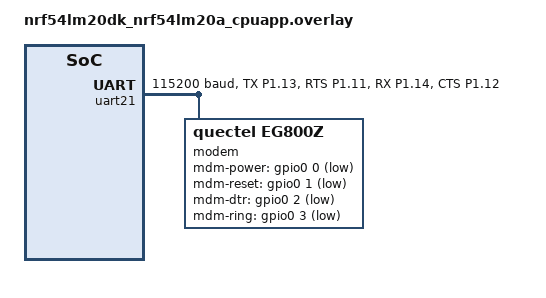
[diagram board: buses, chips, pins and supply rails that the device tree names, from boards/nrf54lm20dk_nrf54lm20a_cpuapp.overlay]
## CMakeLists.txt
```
# SPDX-License-Identifier: Apache-2.0
#
#   west twister -T firefly-app/tests/eg800z_power -p <board> \
#       --device-testing --device-serial /dev/ttyACM0 --tag hardware
#
cmake_minimum_required(VERSION 3.20.0)
find_package(Zephyr REQUIRED HINTS $ENV{ZEPHYR_BASE})
project(firefly_eg800z_power_tests LANGUAGES C CXX)

set(FIREFLY_ROOT ${CMAKE_CURRENT_LIST_DIR}/../..)

add_subdirectory(${FIREFLY_ROOT}/code/helpers helpers_build)
add_subdirectory(${FIREFLY_ROOT}/code/service service_build)

target_sources(app PRIVATE
    src/test_eg800z_power.cpp
    ${FIREFLY_ROOT}/code/event_bus.c
)

target_link_libraries(app PRIVATE firefly_service)
```

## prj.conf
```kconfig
# SPDX-License-Identifier: Apache-2.0
#
# Settings common to the scenario in testcase.yaml.
CONFIG_ZTEST=y

CONFIG_ZBUS=y
CONFIG_ZBUS_CHANNEL_NAME=y
CONFIG_ZBUS_MSG_SUBSCRIBER=y
CONFIG_ZBUS_MSG_SUBSCRIBER_NET_BUF_POOL_SIZE=32

# Lets the test read srvModemTest_eg800z_modem_is_powered() (see
# srvModemTest_eg800z.h) to assert "not powered" without any real UART/AT
# traffic. Does not install a fake port - the scenario exercises the real
# hardware port.
CONFIG_FIREFLY_TEST_HOOKS=y

CONFIG_PM_DEVICE=y
CONFIG_PM_DEVICE_RUNTIME=y
CONFIG_PM_DEVICE_RUNTIME_USE_DEDICATED_WQ=y

# srvModemTest_eg800z uses uart_configure/uart_rx_enable/uart_callback_set,
# a manual ring buffer, and float-formatted printk in its phase report.
CONFIG_UART_INTERRUPT_DRIVEN=n
CONFIG_UART_ASYNC_API=y
CONFIG_UART_USE_RUNTIME_CONFIGURE=y
CONFIG_RING_BUFFER=y
CONFIG_CBPRINTF_FP_SUPPORT=y

CONFIG_CPP=y
CONFIG_STD_CPP20=y
CONFIG_CPP_EXCEPTIONS=n
CONFIG_CPP_RTTI=n
CONFIG_REQUIRES_FULL_LIBC=y

CONFIG_LOG=y
CONFIG_LOG_BUFFER_SIZE=16384
CONFIG_ASSERT=y
```

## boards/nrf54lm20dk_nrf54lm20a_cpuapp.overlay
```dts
/*
 * SPDX-License-Identifier: Apache-2.0
 *
 * Duplicated from ../../../boards/eg800z.overlay - this test is its own
 * Zephyr application, so the top-level app's boards/ overlay isn't
 * inherited here. See that file for the pin-choice rationale.
 */
#include <zephyr/dt-bindings/gpio/gpio.h>

&pinctrl {
	uart21_default_eg800z: uart21_default_eg800z {
		group1 {
			psels = <NRF_PSEL(UART_TX, 1, 13)>,
				<NRF_PSEL(UART_RTS, 1, 11)>;
		};

		group2 {
			psels = <NRF_PSEL(UART_RX, 1, 14)>,
				<NRF_PSEL(UART_CTS, 1, 12)>;
			bias-pull-up;
		};
	};

	uart21_sleep_eg800z: uart21_sleep_eg800z {
		group1 {
			psels = <NRF_PSEL(UART_TX, 1, 13)>,
				<NRF_PSEL(UART_RX, 1, 14)>,
				<NRF_PSEL(UART_RTS, 1, 11)>,
				<NRF_PSEL(UART_CTS, 1, 12)>;
			low-power-enable;
		};
	};
};

&uart21 {
	status = "okay";
	pinctrl-0 = <&uart21_default_eg800z>;
	pinctrl-1 = <&uart21_sleep_eg800z>;
	pinctrl-names = "default", "sleep";
	current-speed = <115200>;
	hw-flow-control;
	zephyr,pm-device-runtime-auto;

	modem: modem {
		compatible = "quectel,eg800z";
		autostarts;
		mdm-power-gpios = <&gpio0 0 GPIO_ACTIVE_LOW>;
		mdm-reset-gpios = <&gpio0 1 GPIO_ACTIVE_LOW>;
		mdm-dtr-gpios = <&gpio0 2 GPIO_ACTIVE_LOW>;
		mdm-ring-gpios = <&gpio0 3 GPIO_ACTIVE_LOW>;
		zephyr,pm-device-runtime-auto;
	};
};

/ {
	aliases {
		modem = &modem;
	};
};
```

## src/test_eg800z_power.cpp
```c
// SPDX-License-Identifier: Apache-2.0
//
// Hardware-in-the-loop: the Quectel EG800Z modem must start fully
// unpowered, then one triggered round must power it up, connect to the
// cellular network, send data, and power it back down again - verified
// against the REAL modem, not a fake port. Mirrors
// tests/nrf93m1_power/src/test_nrf93m1_power.cpp's raw-AT scenario;
// srvModemTest_eg800z is structured to be directly comparable to
// srvModemTest_nrf93m1 (see srvModemTest_eg800z.h).
#include <zephyr/kernel.h>
#include <zephyr/zbus/zbus.h>
#include <zephyr/ztest.h>
#include "event_bus.h"

extern "C"
{
    ZBUS_MSG_SUBSCRIBER_DEFINE(test_sub);
    ZBUS_CHAN_DEFINE(bus_chan, struct bus_msg, NULL, NULL, ZBUS_OBSERVERS(test_sub), ZBUS_MSG_INIT(0));
}

#ifdef CONFIG_FIREFLY_MODEM_TEST_EG800Z

#include "srvModemTest_eg800z.h"

namespace
{

int press_button0_and_wait(int timeout_ms)
{
    const uint32_t count = srvModemTest_eg800z_processed_count();
    const button_event press{0, true};
    const int publish_error = bus_publish_button(&bus_chan, &press);
    if (publish_error != 0)
    {
        return publish_error;
    }
    return srvModemTest_eg800z_wait_processed(count, timeout_ms);
}

} // namespace

ZTEST(eg800z_power_raw_at, test_not_powered_then_power_up_connect_send_shutdown)
{
    zassert_false(srvModemTest_eg800z_modem_is_powered(), "modem must start unpowered");

    zassert_ok(srvModemTest_eg800z_start(&test_sub));
    zassert_false(srvModemTest_eg800z_modem_is_powered(),
                  "srvModemTest_eg800z_start() must not power the modem - only a round does");

    zassert_ok(press_button0_and_wait((CONFIG_FIREFLY_MODEM_TEST_REG_TIMEOUT_S + 60) * 1000));
    zassert_equal(srvModemTest_eg800z_last_result(), 0, "power up/connect/send/shutdown round failed");

    zassert_false(srvModemTest_eg800z_modem_is_powered(), "modem must be back off after the round");

    zassert_ok(srvModemTest_eg800z_stop());
}
ZTEST_SUITE(eg800z_power_raw_at, NULL, NULL, NULL, NULL, NULL);

#endif // CONFIG_FIREFLY_MODEM_TEST_EG800Z
```
